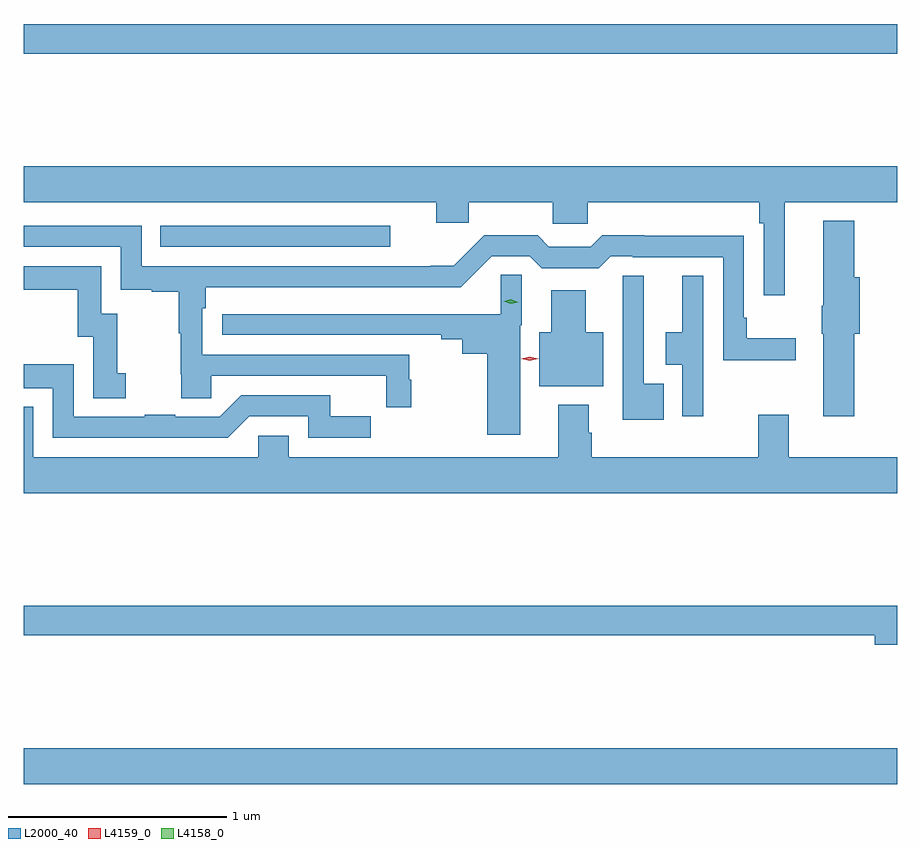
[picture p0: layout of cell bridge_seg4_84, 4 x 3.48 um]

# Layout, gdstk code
import gdstk
lib = gdstk.Library(unit=1e-6, precision=1e-09)
def R(c, l, rs):  # rectangles x0, y0, x1, y1
    for r in rs: c.add(gdstk.rectangle(r[:2], r[2:], *l))
def P(c, l, *ps):  # polygons
    for p in ps: c.add(gdstk.Polygon(p, *l))
L2000_40 = (2000, 40)
L4158_0 = (4158, 0)
L4159_0 = (4159, 0)

bridge_seg4_84 = lib.new_cell('bridge_seg4_84')
R(bridge_seg4_84, L2000_40, [(471.137,775.508,475.137,775.672), (471.763,777.969,472.816,778.065), (471.137,778.852,475.137,778.988)])
P(bridge_seg4_84, L2000_40, [(474.622,778.172),(475.137,778.172),(475.137,778.336),(471.137,778.336),(471.137,778.172),(473.027,778.172),(473.027,778.079),(473.175,778.079),(473.175,778.172),(473.56,778.172),(473.56,778.074),(473.72,778.074),(473.72,778.172),(474.505,778.172),(474.505,778.076),(474.525,778.076),(474.525,777.747),(474.622,777.747)],
  [(474.941,777.57),(474.965,777.57),(474.965,777.828),(474.941,777.828),(474.941,778.087),(474.797,778.087),(474.797,777.699),(474.79,777.699),(474.79,777.57),(474.797,777.57),(474.797,777.192),(474.941,777.192)],
  [(472.912,777.359),(472.902,777.359),(472.902,777.474),(471.954,777.474),(471.954,777.686),(471.97,777.686),(471.97,777.783),(473.139,777.783),(473.28,777.924),(473.454,777.924),(473.509,777.869),(473.771,777.869),(473.826,777.924),(473.926,777.924),(473.926,777.921),(474.339,777.921),(474.339,777.448),(474.673,777.448),(474.673,777.548),(474.448,777.548),(474.448,777.643),(474.435,777.643),(474.435,778.018),(473.978,778.018),(473.978,778.021),(473.785,778.021),(473.733,777.969),(473.541,777.969),(473.49,778.021),(473.245,778.021),(473.105,777.881),(473,777.881),(473,777.879),(471.678,777.879),(471.678,778.065),(471.137,778.065),(471.137,777.969),(471.582,777.969),(471.582,777.771),(471.723,777.771),(471.723,777.763),(471.846,777.763),(471.846,777.571),(471.856,777.571),(471.856,777.385),(471.859,777.385),(471.859,777.274),(471.995,777.274),(471.995,777.378),(472.798,777.378),(472.798,777.234),(472.912,777.234)],
  [(471.604,777.388),(471.565,777.388),(471.565,777.661),(471.492,777.661),(471.492,777.879),(471.137,777.879),(471.137,777.771),(471.384,777.771),(471.384,777.557),(471.456,777.557),(471.456,777.274),(471.604,777.274)],
  [(473.41,777.609),(473.417,777.609),(473.417,777.839),(473.322,777.839),(473.322,777.66),(472.047,777.66),(472.047,777.564),(473.048,777.564),(473.048,777.544),(473.144,777.544),(473.144,777.479),(473.26,777.479),(473.26,777.108),(473.41,777.108)],
  [(474.068,777.34),(473.976,777.34),(473.976,777.836),(473.88,777.836),(473.88,777.176),(474.068,777.176)],
  [(474.249,777.836),(474.152,777.836),(474.152,777.576),(474.077,777.576),(474.077,777.428),(474.153,777.428),(474.153,777.192),(474.249,777.192)],
  [(473.791,777.577),(473.71,777.577),(473.71,777.769),(473.552,777.769),(473.552,777.577),(473.498,777.577),(473.498,777.329),(473.791,777.329)],
  [(472.17,777.192),(472.44,777.192),(472.44,777.093),(472.726,777.093),(472.726,777.191),(472.541,777.191),(472.541,777.288),(472.134,777.288),(472.035,777.189),(471.832,777.189),(471.832,777.198),(471.691,777.198),(471.691,777.189),(471.366,777.189),(471.366,777.43),(471.137,777.43),(471.137,777.321),(471.27,777.321),(471.27,777.093),(472.071,777.093)],
  [(475.137,777.004),(474.64,777.004),(474.64,777.199),(474.5,777.199),(474.5,777.004),(473.738,777.004),(473.738,777.117),(473.725,777.117),(473.725,777.244),(473.585,777.244),(473.585,777.004),(472.351,777.004),(472.351,777.102),(472.212,777.102),(472.212,777.004),(471.18,777.004),(471.18,777.236),(471.137,777.236),(471.137,776.84),(475.137,776.84)],
  [(475.137,776.324),(471.137,776.324),(471.137,776.188),(475.034,776.188),(475.034,776.146),(475.137,776.146)])
P(bridge_seg4_84, L4158_0, [(473.367,777.707),(473.334,777.719),(473.334,777.719),(473.334,777.719),(473.368,777.727),(473.402,777.714),(473.402,777.714),(473.402,777.714)])
P(bridge_seg4_84, L4159_0, [(473.453,777.445),(473.415,777.455),(473.415,777.455),(473.415,777.455),(473.453,777.465),(473.492,777.456),(473.492,777.455),(473.492,777.455)])

lib.write_gds('bridge_seg4_84.gds')
